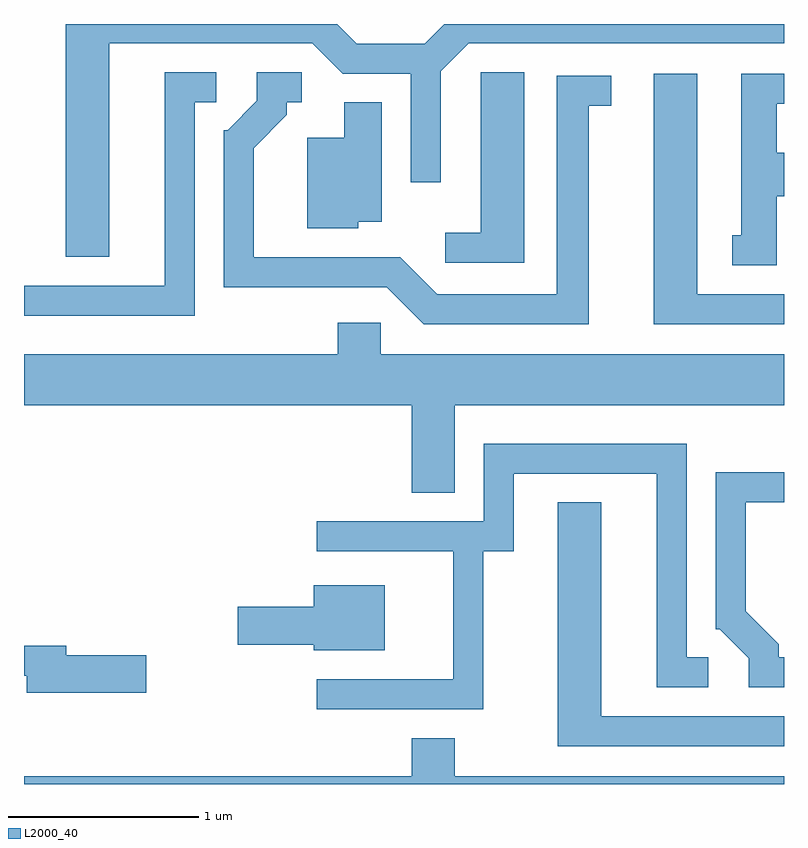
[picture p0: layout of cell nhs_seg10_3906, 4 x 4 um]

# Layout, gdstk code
import gdstk
lib = gdstk.Library(unit=1e-6, precision=1e-09)
def P(c, l, *ps):  # polygons
    for p in ps: c.add(gdstk.Polygon(p, *l))
L2000_40 = (2000, 40)

nhs_seg10_3906 = lib.new_cell('nhs_seg10_3906')
P(nhs_seg10_3906, L2000_40, [(300.059,2182.421),(301.129,2182.421),(301.289,2182.261),(301.646,2182.261),(301.646,2181.688),(301.804,2181.688),(301.804,2182.274),(301.952,2182.421),(303.611,2182.421),(303.611,2182.522),(301.822,2182.522),(301.719,2182.419),(301.362,2182.419),(301.259,2182.522),(299.831,2182.522),(299.831,2181.296),(300.059,2181.296)],
  [(302.244,2182.269),(302.016,2182.269),(302.016,2181.424),(301.828,2181.424),(301.828,2181.266),(302.244,2181.266)],
  [(302.584,2182.091),(302.703,2182.091),(302.703,2182.249),(302.416,2182.249),(302.416,2181.099),(301.787,2181.099),(301.592,2181.294),(300.819,2181.294),(300.819,2181.869),(300.994,2182.044),(300.994,2182.111),(301.073,2182.111),(301.073,2182.269),(300.836,2182.269),(300.836,2182.117),(300.684,2181.964),(300.661,2181.964),(300.661,2181.136),(301.519,2181.136),(301.714,2180.941),(302.584,2180.941)],
  [(300.509,2182.111),(300.623,2182.111),(300.623,2182.269),(300.351,2182.269),(300.351,2181.144),(299.611,2181.144),(299.611,2180.986),(300.509,2180.986)],
  [(303.574,2181.616),(303.611,2181.616),(303.611,2181.844),(303.574,2181.844),(303.574,2182.101),(303.611,2182.101),(303.611,2182.259),(303.386,2182.259),(303.386,2181.409),(303.338,2181.409),(303.338,2181.251),(303.574,2181.251)],
  [(303.611,2181.099),(303.154,2181.099),(303.154,2182.259),(302.926,2182.259),(302.926,2180.941),(303.611,2180.941)],
  [(301.369,2181.481),(301.494,2181.481),(301.494,2182.109),(301.296,2182.109),(301.296,2181.924),(301.101,2181.924),(301.101,2181.446),(301.369,2181.446)],
  [(301.879,2180.516),(303.611,2180.516),(303.611,2180.784),(301.489,2180.784),(301.489,2180.949),(301.261,2180.949),(301.261,2180.784),(299.611,2180.784),(299.611,2180.516),(301.651,2180.516),(301.651,2180.056),(301.879,2180.056)],
  [(302.029,2179.746),(302.189,2179.746),(302.189,2180.156),(302.941,2180.156),(302.941,2179.031),(303.213,2179.031),(303.213,2179.189),(303.099,2179.189),(303.099,2180.314),(302.031,2180.314),(302.031,2179.904),(301.153,2179.904),(301.153,2179.746),(301.871,2179.746),(301.871,2179.074),(301.153,2179.074),(301.153,2178.916),(302.029,2178.916)],
  [(303.611,2179.189),(303.584,2179.189),(303.584,2179.257),(303.409,2179.432),(303.409,2180.006),(303.611,2180.006),(303.611,2180.164),(303.251,2180.164),(303.251,2179.336),(303.274,2179.336),(303.426,2179.184),(303.426,2179.031),(303.611,2179.031)],
  [(303.611,2178.879),(302.649,2178.879),(302.649,2180.004),(302.421,2180.004),(302.421,2178.721),(303.611,2178.721)],
  [(301.509,2179.569),(301.136,2179.569),(301.136,2179.454),(300.736,2179.454),(300.736,2179.256),(301.136,2179.256),(301.136,2179.226),(301.509,2179.226)],
  [(300.254,2179.199),(299.834,2179.199),(299.834,2179.249),(299.611,2179.249),(299.611,2179.091),(299.626,2179.091),(299.626,2179.001),(300.254,2179.001)],
  [(303.611,2178.564),(301.879,2178.564),(301.879,2178.764),(301.651,2178.764),(301.651,2178.564),(299.611,2178.564),(299.611,2178.522),(303.611,2178.522)])

lib.write_gds('nhs_seg10_3906.gds')
